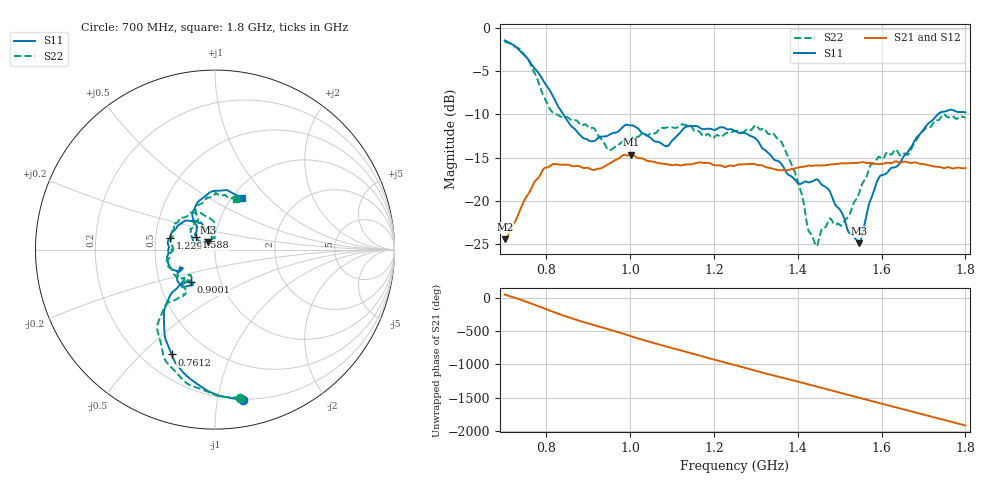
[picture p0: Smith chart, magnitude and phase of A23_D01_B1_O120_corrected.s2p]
! Created with skrf 1.9.0 (http://scikit-rf.org).
# Hz S RI R 50.0
!freq ReS11 ImS11 ReS21 ImS21 ReS12 ImS12 ReS22 ImS22
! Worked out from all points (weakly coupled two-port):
!   1601 points, 700 MHz to 1.8 GHz, reference 50 ohm
!   highest |S21| = -14.69 dB at 1.002 GHz (marker M1); lowest = -24.5 dB at 700.7 MHz (marker M2)
!   lowest |S11| = -25.0 dB at 1.547 GHz (marker M3), VSWR 1.12, Z = 46.3 + j4.01 ohm
!   |S11| at or under -10 dB: 840.1 MHz to 1.734 GHz (893.6 MHz wide, 69.4 % of centre)
!   |S22| runs from -25.3 to -1.5 dB; largest |S21 - S12| = 0.0036
!   S11 on the Smith chart (normalised r, x): 700 MHz: 0.20, -1.19; 761.2 MHz: 0.32, -0.62; 900.1 MHz: 0.72, -0.27; 1.229 GHz: 0.59, +0.08; 1.588 GHz: 0.80, +0.11; 1.8 GHz: 1.11, +0.72
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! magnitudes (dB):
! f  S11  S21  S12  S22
! 700 MHz  -1.4  -24.5  -24.3  -1.5
! 700.7 MHz  -1.4  -24.5  -24.2  -1.6
! 761.2 MHz  -4.0  -18.9  -18.8  -4.1
! 812.1 MHz  -7.6  -15.9  -15.8  -9.6
! 883.6 MHz  -12.6  -16.1  -16.0  -11.3
! 900.1 MHz  -13.0  -16.2  -16.2  -11.5
! 949.6 MHz  -12.4  -15.7  -15.7  -14.2
! 1.002 GHz  -11.3  -14.7  -14.8  -12.9
! 1.067 GHz  -13.2  -15.6  -15.6  -11.8
! 1.138 GHz  -11.4  -15.8  -15.8  -11.2
! 1.229 GHz  -11.7  -16.1  -16.0  -12.1
! 1.25 GHz  -11.9  -15.9  -15.9  -11.9
! 1.359 GHz  -15.7  -16.5  -16.5  -13.1
! 1.394 GHz  -17.6  -16.2  -16.2  -16.8
! 1.434 GHz  -17.8  -16.0  -15.9  -24.1
! 1.506 GHz  -21.5  -15.7  -15.7  -22.8
! 1.547 GHz  -25.0  -15.6  -15.6  -19.0
! 1.588 GHz  -18.0  -15.8  -15.8  -15.3
! 1.617 GHz  -16.5  -15.6  -15.6  -14.5
! 1.663 GHz  -14.3  -15.6  -15.6  -14.7
! 1.737 GHz  -9.9  -16.1  -16.1  -10.6
! 1.8 GHz  -9.8  -16.2  -16.2  -10.3
